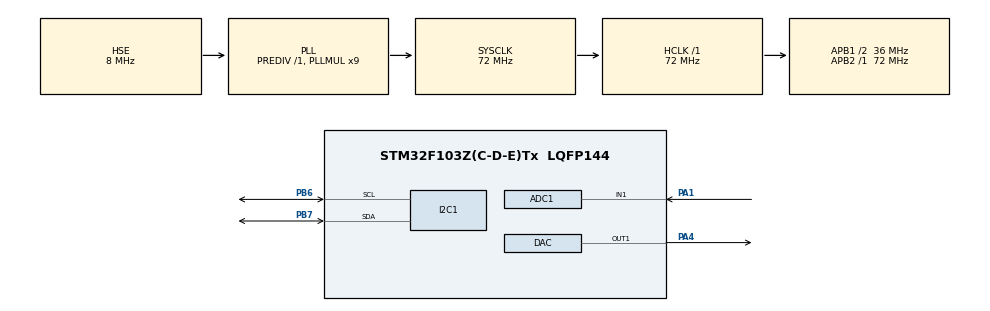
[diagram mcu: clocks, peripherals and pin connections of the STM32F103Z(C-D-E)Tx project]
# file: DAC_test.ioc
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ADC1.Channel-0\#ChannelRegularConversion=ADC_CHANNEL_1
ADC1.NbrOfConversionFlag=1
ADC1.Rank-0\#ChannelRegularConversion=1
ADC1.SamplingTime-0\#ChannelRegularConversion=ADC_SAMPLETIME_1CYCLE_5
ADC1.master=1
Mcu.Family=STM32F1
Mcu.Name=STM32F103Z(C-D-E)Tx
Mcu.Package=LQFP144
NVIC.PriorityGroup=NVIC_PRIORITYGROUP_4
OSC_IN.Mode=HSE-External-Oscillator
OSC_IN.Signal=RCC_OSC_IN
OSC_OUT.Mode=HSE-External-Oscillator
OSC_OUT.Signal=RCC_OSC_OUT
PA1.Signal=ADCx_IN1
PA13.Mode=Serial_Wire
PA13.Signal=SYS_JTMS-SWDIO
PA14.Mode=Serial_Wire
PA14.Signal=SYS_JTCK-SWCLK
PA4.Signal=COMP_DAC1_group
PB6.Mode=I2C
PB6.Signal=I2C1_SCL
PB7.Mode=I2C
PB7.Signal=I2C1_SDA
ProjectManager.HeapSize=0x200
ProjectManager.StackSize=0x400
ProjectManager.TargetToolchain=TrueSTUDIO
RCC.ADCPresc=RCC_ADCPCLK2_DIV6
RCC.AHBFreq_Value=72000000
RCC.APB1CLKDivider=RCC_HCLK_DIV2
RCC.APB1Freq_Value=36000000
RCC.APB1TimFreq_Value=72000000
RCC.APB2Freq_Value=72000000
RCC.APB2TimFreq_Value=72000000
RCC.HCLKFreq_Value=72000000
RCC.PLLMUL=RCC_PLL_MUL9
RCC.PLLSourceVirtual=RCC_PLLSOURCE_HSE
RCC.SYSCLKFreq_VALUE=72000000
RCC.SYSCLKSource=RCC_SYSCLKSOURCE_PLLCLK
RCC.USBFreq_Value=72000000
SH.ADCx_IN1.0=ADC1_IN1,IN1
SH.COMP_DAC1_group.0=DAC_OUT1,DAC_OUT1
board=custom

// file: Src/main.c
/* USER CODE BEGIN Header */
/**
  ******************************************************************************
  * @file           : main.c
  * @brief          : Main program body
  ******************************************************************************
  * @attention
  *
  * <h2><center>&copy; Copyright (c) 2020 STMicroelectronics.
  * All rights reserved.</center></h2>
  *
  * This software component is licensed by ST under BSD 3-Clause license,
  * the "License"; You may not use this file except in compliance with the
  * License. You may obtain a copy of the License at:
  *                        opensource.org/licenses/BSD-3-Clause
  *
  ******************************************************************************
  */
/* USER CODE END Header */

#include "main.h"
#include "adc.h"
#include "dac.h"
#include "i2c.h"
#include "gpio.h"

/* USER CODE BEGIN Includes */
#include "oleds.h"
/* USER CODE END Includes */

/* USER CODE BEGIN PV */
uint16_t ADC_Value,temp;
float VOL_Value;
/* USER CODE END PV */

void SystemClock_Config(void);

int main(void)
{

  /* MCU Configuration--------------------------------------------------------*/

  /* Reset of all peripherals, Initializes the Flash interface and the Systick. */
  HAL_Init();

  /* Configure the system clock */
  SystemClock_Config();

  /* Initialize all configured peripherals */
  MX_GPIO_Init();
  MX_ADC1_Init();
  MX_DAC_Init();
  MX_I2C1_Init();
  /* USER CODE BEGIN 2 */
  OLED_Init();
  OLED_CLS();
  OLED_ShowStr(1,0,(uint8_t *)"Voltage:",1);
  OLED_ShowStr(1,2,(uint8_t *)"Designed by Joe_joe",1);
  HAL_DAC_SetValue(&hdac,DAC_CHANNEL_1,DAC_ALIGN_12B_R,2048);
  HAL_DAC_Start(&hdac,DAC_CHANNEL_1);
  HAL_ADCEx_Calibration_Start(&hadc1);
  /* USER CODE END 2 */

  /* Infinite loop */
  while (1)
  {

    /* USER CODE BEGIN 3 */
	  HAL_ADC_Start(&hadc1);
	  HAL_ADC_PollForConversion(&hadc1,50);
	  if(HAL_IS_BIT_SET(HAL_ADC_GetState(&hadc1),HAL_ADC_STATE_REG_EOC))
	  {
		  ADC_Value = HAL_ADC_GetValue(&hadc1);
	  }
//	  VOL_Value = ADC_Value * 3.3f/4095;
//	  temp = VOL_Value;
//	  OLED_ShowNum(50,0,temp,2,1);
//	  HAL_Delay(250);
//	  VOL_Value -= temp;
//	  VOL_Value *= 1000;
//	  OLED_ShowStr(58,0,(uint8_t *)".",1);
//	  HAL_Delay(250);
//	  OLED_ShowNum(68,0,VOL_Value,3,1);
//	  HAL_Delay(250);
//	  OLED_ShowStr(80,0,(uint8_t *)"V",1);
//	  HAL_Delay(250);
	  OLED_ShowADCV(50,0,ADC_Value,1);
  }
  /* USER CODE END 3 */
}

void SystemClock_Config(void)
{
  RCC_OscInitTypeDef RCC_OscInitStruct = {0};
  RCC_ClkInitTypeDef RCC_ClkInitStruct = {0};
  RCC_PeriphCLKInitTypeDef PeriphClkInit = {0};

  /** Initializes the CPU, AHB and APB busses clocks
  */
  RCC_OscInitStruct.OscillatorType = RCC_OSCILLATORTYPE_HSE;
  RCC_OscInitStruct.HSEState = RCC_HSE_ON;
  RCC_OscInitStruct.HSEPredivValue = RCC_HSE_PREDIV_DIV1;
  RCC_OscInitStruct.HSIState = RCC_HSI_ON;
  RCC_OscInitStruct.PLL.PLLState = RCC_PLL_ON;
  RCC_OscInitStruct.PLL.PLLSource = RCC_PLLSOURCE_HSE;
  RCC_OscInitStruct.PLL.PLLMUL = RCC_PLL_MUL9;
  if (HAL_RCC_OscConfig(&RCC_OscInitStruct) != HAL_OK)
  {
    Error_Handler();
  }
  /** Initializes the CPU, AHB and APB busses clocks
  */
  RCC_ClkInitStruct.ClockType = RCC_CLOCKTYPE_HCLK|RCC_CLOCKTYPE_SYSCLK
                              |RCC_CLOCKTYPE_PCLK1|RCC_CLOCKTYPE_PCLK2;
  RCC_ClkInitStruct.SYSCLKSource = RCC_SYSCLKSOURCE_PLLCLK;
  RCC_ClkInitStruct.AHBCLKDivider = RCC_SYSCLK_DIV1;
  RCC_ClkInitStruct.APB1CLKDivider = RCC_HCLK_DIV2;
  RCC_ClkInitStruct.APB2CLKDivider = RCC_HCLK_DIV1;

  if (HAL_RCC_ClockConfig(&RCC_ClkInitStruct, FLASH_LATENCY_2) != HAL_OK)
  {
    Error_Handler();
  }
  PeriphClkInit.PeriphClockSelection = RCC_PERIPHCLK_ADC;
  PeriphClkInit.AdcClockSelection = RCC_ADCPCLK2_DIV6;
  if (HAL_RCCEx_PeriphCLKConfig(&PeriphClkInit) != HAL_OK)
  {
    Error_Handler();
  }
}

void Error_Handler(void)
{
}

/************************ (C) COPYRIGHT STMicroelectronics *****END OF FILE****/
